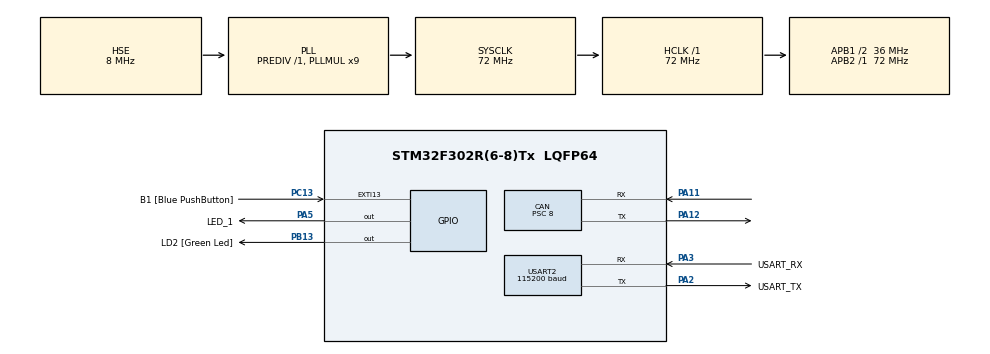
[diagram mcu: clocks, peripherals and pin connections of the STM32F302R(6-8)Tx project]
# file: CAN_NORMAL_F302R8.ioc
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CAN.BS1=CAN_BS1_9TQ
CAN.BS2=CAN_BS2_8TQ
CAN.CalculateBaudRate=250000
CAN.CalculateTimeBit=4000
CAN.CalculateTimeQuantum=222.22222222222223
CAN.Prescaler=8
Mcu.Family=STM32F3
Mcu.Name=STM32F302R(6-8)Tx
Mcu.Package=LQFP64
NVIC.PriorityGroup=NVIC_PRIORITYGROUP_0
NVIC.USB_LP_CAN_RX0_IRQn=true\:0\:0\:false\:false\:true\:true\:true\:true
PA11.Mode=CAN_Activate
PA11.Signal=CAN_RX
PA12.Mode=CAN_Activate
PA12.Signal=CAN_TX
PA13.GPIO_Label=TMS
PA13.Mode=Serial_Wire
PA13.Signal=SYS_JTMS-SWDIO
PA14.GPIO_Label=TCK
PA14.Mode=Serial_Wire
PA14.Signal=SYS_JTCK-SWCLK
PA2.GPIO_Label=USART_TX
PA2.GPIO_Mode=GPIO_MODE_AF_PP
PA2.GPIO_PuPd=GPIO_NOPULL
PA2.GPIO_Speed=GPIO_SPEED_FREQ_LOW
PA2.Mode=Asynchronous
PA2.Signal=USART2_TX
PA3.GPIO_Label=USART_RX
PA3.GPIO_Mode=GPIO_MODE_AF_PP
PA3.GPIO_PuPd=GPIO_NOPULL
PA3.GPIO_Speed=GPIO_SPEED_FREQ_LOW
PA3.Mode=Asynchronous
PA3.Signal=USART2_RX
PA5.GPIO_Label=LED_1
PA5.Signal=GPIO_Output
PB13.GPIO_Label=LD2 [Green Led]
PB13.Signal=GPIO_Output
PB3.GPIO_Label=SWO
PB3.Mode=Trace_Asynchronous_SW
PB3.Signal=SYS_JTDO-TRACESWO
PC13.GPIO_Label=B1 [Blue PushButton]
PC13.GPIO_ModeDefaultEXTI=GPIO_MODE_IT_FALLING
PC13.Signal=GPXTI13
PC14\ -\ OSC32_IN.Signal=RCC_OSC32_IN
PC15\ -\ OSC32_OUT.Signal=RCC_OSC32_OUT
PF0-OSC_IN.Mode=HSE-External-Oscillator
PF0-OSC_IN.Signal=RCC_OSC_IN
PF1-OSC_OUT.Mode=HSE-External-Oscillator
PF1-OSC_OUT.Signal=RCC_OSC_OUT
ProjectManager.HeapSize=0x200
ProjectManager.StackSize=0x400
ProjectManager.TargetToolchain=STM32CubeIDE
RCC.AHBFreq_Value=72000000
RCC.APB1CLKDivider=RCC_HCLK_DIV2
RCC.APB1Freq_Value=36000000
RCC.APB1TimFreq_Value=72000000
RCC.APB2Freq_Value=72000000
RCC.APB2TimFreq_Value=72000000
RCC.CortexFreq_Value=72000000
RCC.HCLKFreq_Value=72000000
RCC.HSE_VALUE=8000000
RCC.HSI_VALUE=8000000
RCC.LSE_VALUE=32768
RCC.PLLM=8
RCC.PLLMUL=RCC_PLL_MUL9
RCC.PLLN=336
RCC.PLLP=RCC_PLLP_DIV4
RCC.PLLQ=7
RCC.PLLSourceVirtual=RCC_PLLSOURCE_HSE
RCC.SYSCLKFreq_VALUE=72000000
RCC.SYSCLKSourceVirtual=RCC_SYSCLKSOURCE_PLLCLK
RCC.USBFreq_Value=72000000
USART2.BaudRate=115200
USART2.VirtualMode-Asynchronous=VM_ASYNC
board=NUCLEO-F302R8

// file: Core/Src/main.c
/* USER CODE BEGIN Header */
/**
  ******************************************************************************
  * @file           : main.c
  * @brief          : Main program body
  ******************************************************************************
  * @attention
  *
  * Copyright (c) 2025 STMicroelectronics.
  * All rights reserved.
  *
  * This software is licensed under terms that can be found in the LICENSE file
  * in the root directory of this software component.
  * If no LICENSE file comes with this software, it is provided AS-IS.
  *
  ******************************************************************************
  */
/* USER CODE END Header */
#include "main.h"

/* USER CODE BEGIN Includes */
#include <stdio.h>
#include <string.h>
#include "CANMessages.h"
/* USER CODE END Includes */

/* USER CODE BEGIN PM */
#define NODE_ID 0x00 // CAN node id for Odrive (might change if multiple devices connected)
/* USER CODE END PM */

CAN_HandleTypeDef hcan;
UART_HandleTypeDef huart2;

/* USER CODE BEGIN PV */
uint8_t enable_can_rx = 0;
/* USER CODE END PV */

void SystemClock_Config(void);
static void MX_GPIO_Init(void);
static void MX_USART2_UART_Init(void);
static void MX_CAN_Init(void);
/* USER CODE BEGIN PFP */
/* The below code allows user to setup scanf and printf functions inside via
 * serial console, read the entire documentation below for more details:
 * FORUM LINK BELOW: https://forum.digikey.com/t/easily-use-scanf-on-stm32/21103
 * */
#ifdef __GNUC__
#define PUTCHAR_PROTOTYPE int __io_putchar(int ch)
#define GETCHAR_PROTOTYPE int __io_getchar(void)
#else
#define PUTCHAR_PROTOTYPE int fputc(int ch, FILE *f)
#define GETCHAR_PROTOTYPE int fgetc(FILE *f)
#endif

PUTCHAR_PROTOTYPE
{
  HAL_UART_Transmit(&huart2, (uint8_t *)&ch, 1, HAL_MAX_DELAY);
  return ch;
}

GETCHAR_PROTOTYPE
{
  uint8_t ch = 0;

  /* Clear the Overrun flag just before receiving the first character */
  __HAL_UART_CLEAR_OREFLAG(&huart2);

  /* Wait for reception of a character on the USART RX line and echo this
   * character on console */
  HAL_UART_Receive(&huart2, (uint8_t *)&ch, 1, HAL_MAX_DELAY);
  HAL_UART_Transmit(&huart2, (uint8_t *)&ch, 1, HAL_MAX_DELAY);
  return ch;
}

void floatToUpperBytes(float val, uint8_t* byteArr);
void floatToLowerBytes(float val, uint8_t* byteArr);
/* USER CODE END PFP */

/* USER CODE BEGIN 0 */
CAN_TxHeaderTypeDef TxHeader;
CAN_RxHeaderTypeDef RxHeader;

uint8_t TxData[8] = {0x00, 0x00, 0x00, 0x00, // IEEE 754 float: vel : 2 rev/s: UPPER BYTES
					 0x00, 0x00, 0x00, 0x00}; // IEEE 754 float: torque : 0: LOWER BYTES
uint8_t RxData[8];
uint32_t TxMailbox;

void floatToUpperBytes(float val, uint8_t* byteArr) {
  union {
    float var;
    uint8_t buf[sizeof(float)];
  } u;
  u.var = val;
  memcpy(byteArr, u.buf, sizeof(float)); // Write to bytes 0–3
}

void floatToLowerBytes(float val, uint8_t* byteArr) {
  union {
    float var;
    uint8_t buf[sizeof(float)];
  } u;
  u.var = val;
  memcpy(byteArr + 4, u.buf, sizeof(float)); // Write to bytes 4–7
}

void HAL_CAN_RxFifoMsgPendingCallback(CAN_HandleTypeDef *hcan)
{
    HAL_CAN_GetRxMessage(hcan, CAN_RX_FIFO0, &RxHeader, RxData);

    static uint32_t msg_count = 0;
    msg_count++;
    if (msg_count % 10 == 0) {  // Print every 10th message
        printf("CAN RX - ID: 0x%03lX, DLC: %lu\r\n", RxHeader.StdId, RxHeader.DLC);
    }
}
/* USER CODE END 0 */

int main(void)
{

  /* MCU Configuration--------------------------------------------------------*/

  /* Reset of all peripherals, Initializes the Flash interface and the Systick. */
  HAL_Init();

  /* Configure the system clock */
  SystemClock_Config();

  /* Initialize all configured peripherals */
  MX_GPIO_Init();
  MX_USART2_UART_Init();
  MX_CAN_Init();
  /* USER CODE BEGIN 2 */
  HAL_CAN_Start(&hcan);

  setvbuf(stdin, NULL, _IONBF, 0); // for scanf setup, avoiding errors in syscalls.c

  // CAN filter configuration
  CAN_FilterTypeDef canFilter;
  canFilter.FilterBank = 0;
  canFilter.FilterMode = CAN_FILTERMODE_IDMASK;
  canFilter.FilterFIFOAssignment = CAN_RX_FIFO0;
  canFilter.FilterIdHigh = 0x0000;
  canFilter.FilterIdLow = 0x0000;
  canFilter.FilterMaskIdHigh = 0x0000;
  canFilter.FilterMaskIdLow = 0x0000;
  canFilter.FilterScale = CAN_FILTERSCALE_32BIT;
  canFilter.FilterActivation = ENABLE;
  HAL_CAN_ConfigFilter(&hcan, &canFilter);

  // Set CAN interrupt to lower priority BEFORE enabling it
  HAL_NVIC_SetPriority(USB_HP_CAN_TX_IRQn, 5, 0);
  HAL_NVIC_SetPriority(USB_LP_CAN_RX0_IRQn, 5, 0);

  // Enable RX interrupt
  //  HAL_CAN_ActivateNotification(&hcan, CAN_IT_RX_FIFO0_MSG_PENDING);

  int cmd_id;
  int dlc;
  float value;
  /* USER CODE END 2 */

  /* Infinite loop */
  /* USER CODE BEGIN WHILE */
    while (1)
    {
        // Check for CAN messages without interrupt
		//        if (HAL_CAN_GetRxFifoFillLevel(&hcan, CAN_RX_FIFO0) > 0)
		//        {
		//            HAL_CAN_GetRxMessage(&hcan, CAN_RX_FIFO0, &RxHeader, RxData);
		//
		//            // Only print every 50th message to reduce spam
		//            static uint32_t msg_count = 0;
		//            msg_count++;
		//            if (msg_count % 10 == 0) {
		//                printf("CAN RX - ID: 0x%03lX, DLC: %lu (count: %lu)\r\n", RxHeader.StdId, RxHeader.DLC, msg_count);
		//            }
		//        }

		if (scanf("%x %d %f", &cmd_id, &dlc, &value) == 3)
		{
			printf("packet sent: CMD:0x%x, DLC:%d, VAL: %f \r\n", cmd_id, dlc, value);
			memset(TxData, 0, sizeof(TxData));

			TxHeader.StdId = (NODE_ID << 5) | cmd_id;
			TxHeader.IDE = CAN_ID_STD;
			TxHeader.RTR = CAN_RTR_DATA;
			TxHeader.DLC = dlc;

			// Put value as bytes directly into TxData
			// example usage: "0x0D 8 2.0" VELOCITY_MODE with DLC = 8 and spinning at INPUT_VEL 2 rev/s.
			floatToUpperBytes(value, TxData);
			HAL_CAN_AddTxMessage(&hcan, &TxHeader, TxData, &TxMailbox);

		}
    }
    /* USER CODE END WHILE */

}

void SystemClock_Config(void)
{
  RCC_OscInitTypeDef RCC_OscInitStruct = {0};
  RCC_ClkInitTypeDef RCC_ClkInitStruct = {0};

  /** Initializes the RCC Oscillators according to the specified parameters
  * in the RCC_OscInitTypeDef structure.
  */
  RCC_OscInitStruct.OscillatorType = RCC_OSCILLATORTYPE_HSE;
  RCC_OscInitStruct.HSEState = RCC_HSE_ON;
  RCC_OscInitStruct.HSEPredivValue = RCC_HSE_PREDIV_DIV1;
  RCC_OscInitStruct.HSIState = RCC_HSI_ON;
  RCC_OscInitStruct.PLL.PLLState = RCC_PLL_ON;
  RCC_OscInitStruct.PLL.PLLSource = RCC_PLLSOURCE_HSE;
  RCC_OscInitStruct.PLL.PLLMUL = RCC_PLL_MUL9;
  if (HAL_RCC_OscConfig(&RCC_OscInitStruct) != HAL_OK)
  {
    Error_Handler();
  }

  /** Initializes the CPU, AHB and APB buses clocks
  */
  RCC_ClkInitStruct.ClockType = RCC_CLOCKTYPE_HCLK|RCC_CLOCKTYPE_SYSCLK
                              |RCC_CLOCKTYPE_PCLK1|RCC_CLOCKTYPE_PCLK2;
  RCC_ClkInitStruct.SYSCLKSource = RCC_SYSCLKSOURCE_PLLCLK;
  RCC_ClkInitStruct.AHBCLKDivider = RCC_SYSCLK_DIV1;
  RCC_ClkInitStruct.APB1CLKDivider = RCC_HCLK_DIV2;
  RCC_ClkInitStruct.APB2CLKDivider = RCC_HCLK_DIV1;

  if (HAL_RCC_ClockConfig(&RCC_ClkInitStruct, FLASH_LATENCY_2) != HAL_OK)
  {
    Error_Handler();
  }
}

static void MX_CAN_Init(void)
{

  hcan.Instance = CAN;
  hcan.Init.Prescaler = 8;
  hcan.Init.Mode = CAN_MODE_NORMAL;
  hcan.Init.SyncJumpWidth = CAN_SJW_1TQ;
  hcan.Init.TimeSeg1 = CAN_BS1_9TQ;
  hcan.Init.TimeSeg2 = CAN_BS2_8TQ;
  hcan.Init.TimeTriggeredMode = DISABLE;
  hcan.Init.AutoBusOff = DISABLE;
  hcan.Init.AutoWakeUp = DISABLE;
  hcan.Init.AutoRetransmission = DISABLE;
  hcan.Init.ReceiveFifoLocked = DISABLE;
  hcan.Init.TransmitFifoPriority = DISABLE;
  if (HAL_CAN_Init(&hcan) != HAL_OK)
  {
    Error_Handler();
  }

}

static void MX_USART2_UART_Init(void)
{

  huart2.Instance = USART2;
  huart2.Init.BaudRate = 115200;
  huart2.Init.WordLength = UART_WORDLENGTH_8B;
  huart2.Init.StopBits = UART_STOPBITS_1;
  huart2.Init.Parity = UART_PARITY_NONE;
  huart2.Init.Mode = UART_MODE_TX_RX;
  huart2.Init.HwFlowCtl = UART_HWCONTROL_NONE;
  huart2.Init.OverSampling = UART_OVERSAMPLING_16;
  huart2.Init.OneBitSampling = UART_ONE_BIT_SAMPLE_DISABLE;
  huart2.AdvancedInit.AdvFeatureInit = UART_ADVFEATURE_NO_INIT;
  if (HAL_UART_Init(&huart2) != HAL_OK)
  {
    Error_Handler();
  }

}

static void MX_GPIO_Init(void)
{
  GPIO_InitTypeDef GPIO_InitStruct = {0};

  /* GPIO Ports Clock Enable */
  __HAL_RCC_GPIOC_CLK_ENABLE();
  __HAL_RCC_GPIOF_CLK_ENABLE();
  __HAL_RCC_GPIOA_CLK_ENABLE();
  __HAL_RCC_GPIOB_CLK_ENABLE();

  /*Configure GPIO pin Output Level */
  HAL_GPIO_WritePin(LED_1_GPIO_Port, LED_1_Pin, GPIO_PIN_RESET);

  /*Configure GPIO pin Output Level */
  HAL_GPIO_WritePin(LD2_GPIO_Port, LD2_Pin, GPIO_PIN_RESET);

  /*Configure GPIO pin : B1_Pin */
  GPIO_InitStruct.Pin = B1_Pin;
  GPIO_InitStruct.Mode = GPIO_MODE_IT_FALLING;
  GPIO_InitStruct.Pull = GPIO_NOPULL;
  HAL_GPIO_Init(B1_GPIO_Port, &GPIO_InitStruct);

  /*Configure GPIO pin : LED_1_Pin */
  GPIO_InitStruct.Pin = LED_1_Pin;
  GPIO_InitStruct.Mode = GPIO_MODE_OUTPUT_PP;
  GPIO_InitStruct.Pull = GPIO_NOPULL;
  GPIO_InitStruct.Speed = GPIO_SPEED_FREQ_LOW;
  HAL_GPIO_Init(LED_1_GPIO_Port, &GPIO_InitStruct);

  /*Configure GPIO pin : LD2_Pin */
  GPIO_InitStruct.Pin = LD2_Pin;
  GPIO_InitStruct.Mode = GPIO_MODE_OUTPUT_PP;
  GPIO_InitStruct.Pull = GPIO_NOPULL;
  GPIO_InitStruct.Speed = GPIO_SPEED_FREQ_LOW;
  HAL_GPIO_Init(LD2_GPIO_Port, &GPIO_InitStruct);

}

void Error_Handler(void)
{
  __disable_irq();
  while (1)
  {
  }
}
